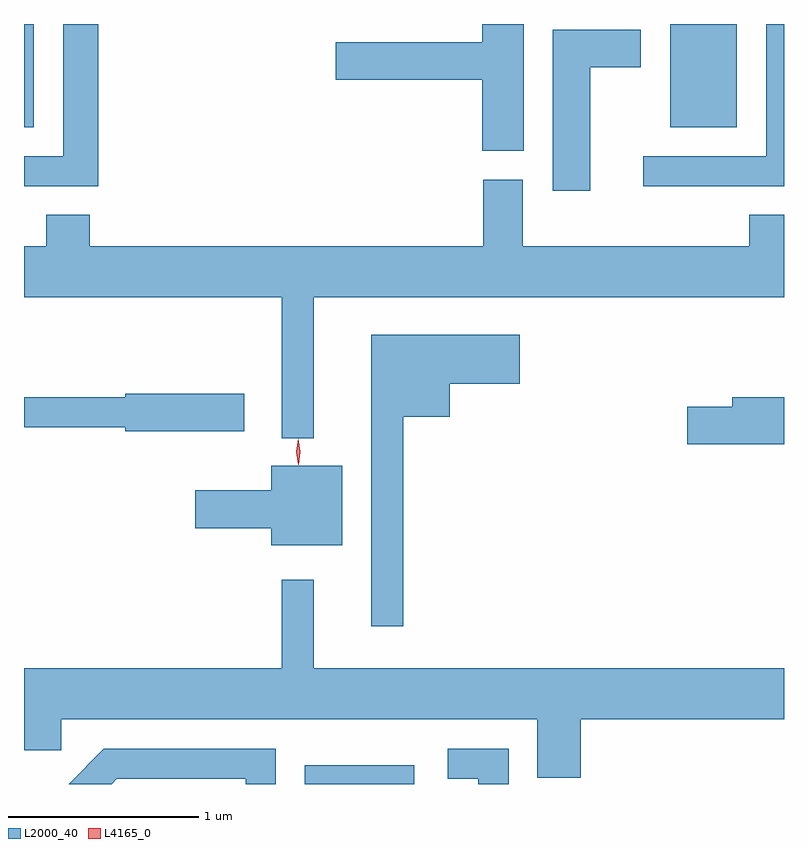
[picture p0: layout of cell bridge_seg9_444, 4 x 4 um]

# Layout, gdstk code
import gdstk
lib = gdstk.Library(unit=1e-6, precision=1e-09)
def R(c, l, rs):  # rectangles x0, y0, x1, y1
    for r in rs: c.add(gdstk.rectangle(r[:2], r[2:], *l))
def P(c, l, *ps):  # polygons
    for p in ps: c.add(gdstk.Polygon(p, *l))
L2000_40 = (2000, 40)
L4165_0 = (4165, 0)

bridge_seg9_444 = lib.new_cell('bridge_seg9_444')
R(bridge_seg9_444, L2000_40, [(439.691,1987.034,440.269,1987.134), (438.214,1990.491,438.264,1991.034), (441.616,1990.491,441.964,1991.034)])
P(bridge_seg9_444, L2000_40, [(438.604,1991.034),(438.421,1991.034),(438.421,1990.339),(438.214,1990.339),(438.214,1990.181),(438.604,1990.181)],
  [(440.844,1991.034),(440.626,1991.034),(440.626,1990.939),(439.856,1990.939),(439.856,1990.741),(440.626,1990.741),(440.626,1990.366),(440.844,1990.366)],
  [(442.214,1991.034),(442.121,1991.034),(442.121,1990.339),(441.473,1990.339),(441.473,1990.181),(442.214,1990.181)],
  [(441.194,1990.806),(441.459,1990.806),(441.459,1991.004),(440.996,1991.004),(440.996,1990.156),(441.194,1990.156)],
  [(439.739,1989.596),(442.214,1989.596),(442.214,1990.029),(442.031,1990.029),(442.031,1989.864),(440.839,1989.864),(440.839,1990.214),(440.631,1990.214),(440.631,1989.864),(438.559,1989.864),(438.559,1990.029),(438.331,1990.029),(438.331,1989.864),(438.214,1989.864),(438.214,1989.596),(439.571,1989.596),(439.571,1988.853),(439.739,1988.853)],
  [(440.209,1988.966),(440.454,1988.966),(440.454,1989.141),(440.824,1989.141),(440.824,1989.399),(440.041,1989.399),(440.041,1987.863),(440.209,1987.863)],
  [(439.374,1989.089),(438.746,1989.089),(438.746,1989.069),(438.214,1989.069),(438.214,1988.911),(438.746,1988.911),(438.746,1988.891),(439.374,1988.891)],
  [(442.214,1989.069),(441.941,1989.069),(441.941,1989.019),(441.706,1989.019),(441.706,1988.821),(442.214,1988.821)],
  [(439.889,1988.709),(439.516,1988.709),(439.516,1988.579),(439.116,1988.579),(439.116,1988.381),(439.516,1988.381),(439.516,1988.291),(439.889,1988.291)],
  [(441.144,1987.376),(442.214,1987.376),(442.214,1987.644),(439.739,1987.644),(439.739,1988.108),(439.571,1988.108),(439.571,1987.644),(438.214,1987.644),(438.214,1987.211),(438.409,1987.211),(438.409,1987.376),(440.916,1987.376),(440.916,1987.066),(441.144,1987.066)],
  [(438.702,1987.061),(439.381,1987.061),(439.381,1987.034),(439.539,1987.034),(439.539,1987.219),(438.634,1987.219),(438.449,1987.034),(438.675,1987.034)],
  [(440.764,1987.219),(440.443,1987.219),(440.443,1987.061),(440.606,1987.061),(440.606,1987.034),(440.764,1987.034)])
P(bridge_seg9_444, L4165_0, [(439.658,1988.715),(439.648,1988.782),(439.658,1988.85),(439.658,1988.85),(439.658,1988.85),(439.668,1988.782),(439.66,1988.715),(439.659,1988.715)],
  [(439.658,1988.721),(439.648,1988.784),(439.658,1988.846),(439.658,1988.847),(439.658,1988.846),(439.668,1988.784),(439.66,1988.721),(439.659,1988.721)])

lib.write_gds('bridge_seg9_444.gds')
